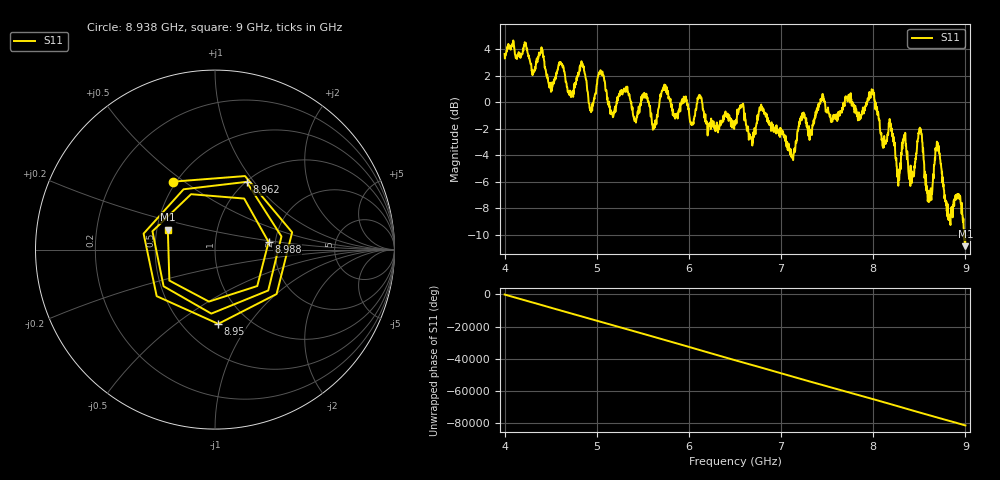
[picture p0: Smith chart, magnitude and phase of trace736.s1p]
! Created with skrf 1.8.0 (http://scikit-rf.org).
# Hz S RI R 50.0
!freq ReS11 ImS11
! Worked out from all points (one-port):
!   1601 points, 4 GHz to 9 GHz, reference 50 ohm
!   lowest |S11| = -10.9 dB at 9 GHz (marker M1), VSWR 1.80, Z = 28.6 + j6.96 ohm
!   |S11| at or under -10 dB: 8.985701 GHz to end of sweep
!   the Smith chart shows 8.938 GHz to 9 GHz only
!   S11 on the Smith chart (normalised r, x): 8.938 GHz: 0.48, +0.46; 8.95 GHz: 0.73, -0.73; 8.962 GHz: 1.01, +0.92; 8.988 GHz: 1.84, +0.17; 9 GHz: 0.57, +0.14
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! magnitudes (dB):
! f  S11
! 4 GHz  3.7
! 4.625 GHz  2.8
! 4.719 GHz  0.4
! 4.847 GHz  2.9
! 4.938 GHz  -0.7
! 5.041 GHz  2.4
! 5.162 GHz  -0.9
! 5.25 GHz  0.5
! 5.875 GHz  -0.8
! 6.5 GHz  -1.7
! 6.684 GHz  -3.0
! 6.788 GHz  -0.4
! 7.125 GHz  -4.2
! 7.231 GHz  -0.8
! 7.75 GHz  0.0
! 7.984 GHz  1.0
! 8.266 GHz  -5.4
! 8.331 GHz  -2.7
! 8.375 GHz  -4.4
! 8.509 GHz  -2.2
! 8.606 GHz  -6.7
! 8.7 GHz  -3.1
! 8.812 GHz  -8.6
! 8.938 GHz  -7.0
! 8.95 GHz  -7.7
! 8.962 GHz  -7.6
! 8.988 GHz  -10.4
! 9 GHz  -10.9
